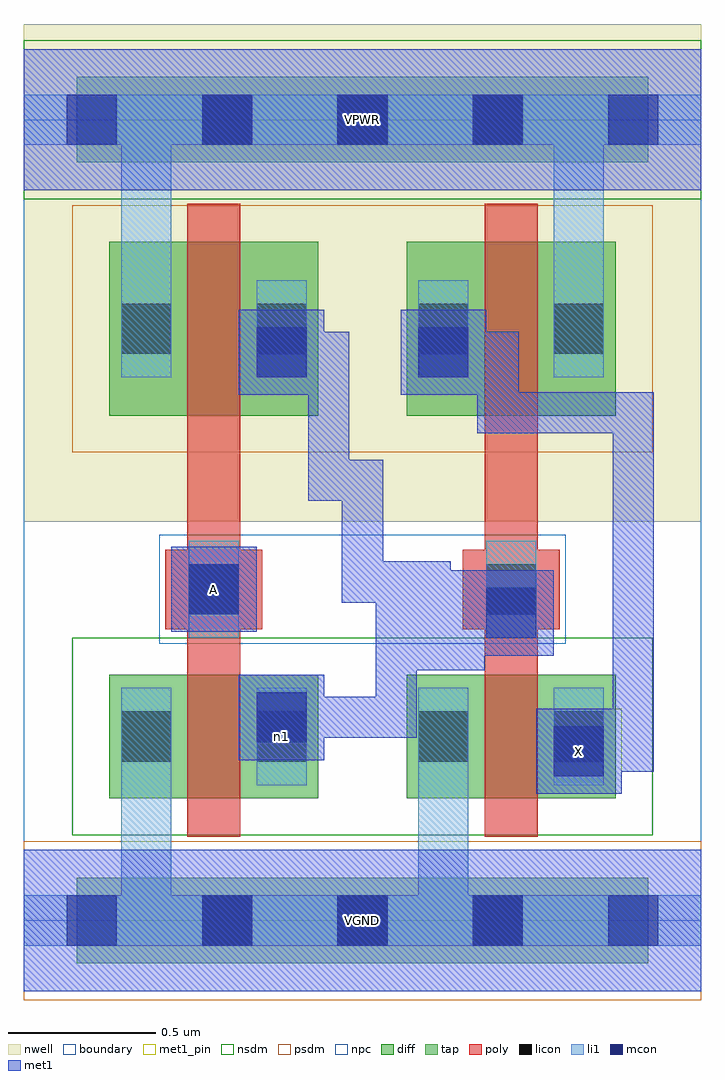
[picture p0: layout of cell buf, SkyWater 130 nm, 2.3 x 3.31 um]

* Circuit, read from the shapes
.subckt buf A VGND VPWR X n1
XM1 n1 A VGND VGND sky130_fd_pr__nfet_01v8 w=0.42 l=0.18
XM2 X n1 VGND VGND sky130_fd_pr__nfet_01v8 w=0.42 l=0.18
XM3 n1 A VPWR VPWR sky130_fd_pr__pfet_01v8 w=0.59 l=0.18
XM4 VPWR n1 X VPWR sky130_fd_pr__pfet_01v8 w=0.59 l=0.18
.ends

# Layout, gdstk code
import gdstk
lib = gdstk.Library(unit=1e-6, precision=1e-09)
def R(c, l, rs):  # rectangles x0, y0, x1, y1
    for r in rs: c.add(gdstk.rectangle(r[:2], r[2:], *l))
def A(c, l, x, y, w, h, nx, ny, dx, dy):  # array of equal rectangles
    R(c, l, [(x+i*dx, y+j*dy, x+i*dx+w, y+j*dy+h) for i in range(nx) for j in range(ny)])
nwell = (64, 20)
diff = (65, 20)
tap = (65, 44)
poly = (66, 20)
licon = (66, 44)
li1 = (67, 20)
mcon = (67, 44)
met1_pin = (68, 16)
met1 = (68, 20)
nsdm = (93, 44)
psdm = (94, 20)
npc = (95, 20)
boundary = (235, 4)

buf = lib.new_cell('buf')
R(buf, nwell, [(0,1.355,2.3,3.045)])
R(buf, diff, [(0.29,0.415,1,0.835), (1.3,0.415,2.01,0.835), (0.29,1.715,1,2.305), (1.3,1.715,2.01,2.305)])
R(buf, tap, [(0.18,-0.145,2.12,0.145), (0.18,2.575,2.12,2.865)])
R(buf, poly, [(0.555,0.285,0.735,2.435), (1.565,0.285,1.745,2.435), (0.48,0.99,0.81,1.26), (1.49,0.99,1.82,1.26)])
A(buf, licon, 0.605, -0.085, 0.17, 0.17, 3, 2, 0.46, 2.72)
R(buf, licon, [(0.33,0.54,0.5,0.71), (0.79,0.54,0.96,0.71), (1.34,0.54,1.51,0.71), (1.8,0.54,1.97,0.71), (0.56,1.04,0.73,1.21), (1.57,1.04,1.74,1.21), (0.33,1.925,0.5,2.095), (0.79,1.925,0.96,2.095), (1.34,1.925,1.51,2.095), (1.8,1.925,1.97,2.095)])
R(buf, li1, [(0,-0.085,2.3,0.085), (0.33,-0.085,0.5,0.79), (1.34,-0.085,1.51,0.79), (0.33,0.46,0.5,0.79), (0.79,0.46,0.96,0.79), (1.34,0.46,1.51,0.79), (1.8,0.46,1.97,0.79), (0.56,0.96,0.73,1.29), (1.57,0.96,1.74,1.29), (0.33,1.845,0.5,2.175), (0.33,1.845,0.5,2.805), (0.79,1.845,0.96,2.175), (1.34,1.845,1.51,2.175), (1.8,1.845,1.97,2.175), (1.8,1.845,1.97,2.805), (0,2.635,2.3,2.805)])
A(buf, mcon, 0.145, -0.085, 0.17, 0.17, 5, 2, 0.46, 2.72)
R(buf, mcon, [(1.8,0.49,1.97,0.66), (0.79,0.605,0.96,0.775), (1.57,0.96,1.74,1.13), (0.56,1.04,0.73,1.21), (0.79,1.845,0.96,2.015), (1.34,1.845,1.51,2.015)])
R(buf, met1_pin, [(0,-0.24,2.3,0.24), (1.74,0.43,2.03,0.72), (0.5,0.98,0.79,1.27), (0,2.48,2.3,2.96)])
R(buf, met1, [(0,-0.24,2.3,0.24), (1.74,0.43,2.03,0.72), (1.815,0.505,2.14,0.645), (2,0.505,2.14,1.795), (0.73,0.545,1.02,0.835), (0.805,0.62,1.105,0.76), (0.965,0.62,1.335,0.76), (1.195,0.62,1.335,0.99), (1.195,0.85,1.565,0.99), (1.31,0.85,1.45,1.22), (1.425,0.85,1.565,1.115), (1.45,0.9,1.51,1.19), (1.51,0.9,1.8,1.19), (1.425,0.975,1.725,1.115), (0.5,0.98,0.79,1.27), (1.195,0.99,1.335,1.08), (1.195,0.99,1.45,1.08), (1.195,0.99,1.22,1.08), (1.08,1.08,1.45,1.22), (1.08,1.08,1.22,1.565), (1.45,1.08,1.51,1.19), (0.965,1.425,1.105,1.91), (0.965,1.425,1.22,1.565), (1.54,1.655,2.14,1.795), (1.54,1.655,1.68,1.91), (0.965,1.77,1.105,2), (1.54,1.77,1.68,2), (0.73,1.785,1.02,2.075), (1.28,1.785,1.57,2.075), (0.805,1.86,1.105,2), (1.355,1.86,1.68,2), (0,2.48,2.3,2.96)])
R(buf, nsdm, [(0.165,0.29,2.135,0.96), (0,2.45,2.3,2.99)])
R(buf, psdm, [(0,-0.27,2.3,0.27), (0.165,1.59,2.135,2.43)])
R(buf, npc, [(0.46,0.94,1.84,1.31)])
R(buf, boundary, [(0,0,2.3,2.72)])
buf.add(gdstk.Label('n1', (0.875,0.625), layer=67, texttype=5))
buf.add(gdstk.Label('A', (0.645,1.125), layer=68, texttype=5))
buf.add(gdstk.Label('X', (1.885,0.575), layer=68, texttype=5))
buf.add(gdstk.Label('VPWR', (1.15,2.72), layer=68, texttype=5))
buf.add(gdstk.Label('VGND', (1.15,0), layer=68, texttype=5))
buf.add(gdstk.Label('A', (0.645,1.125), layer=68, texttype=16))
buf.add(gdstk.Label('X', (1.885,0.575), layer=68, texttype=16))
buf.add(gdstk.Label('VPWR', (1.15,2.72), layer=68, texttype=16))
buf.add(gdstk.Label('VGND', (1.15,0), layer=68, texttype=16))

lib.write_gds('buf.gds')
